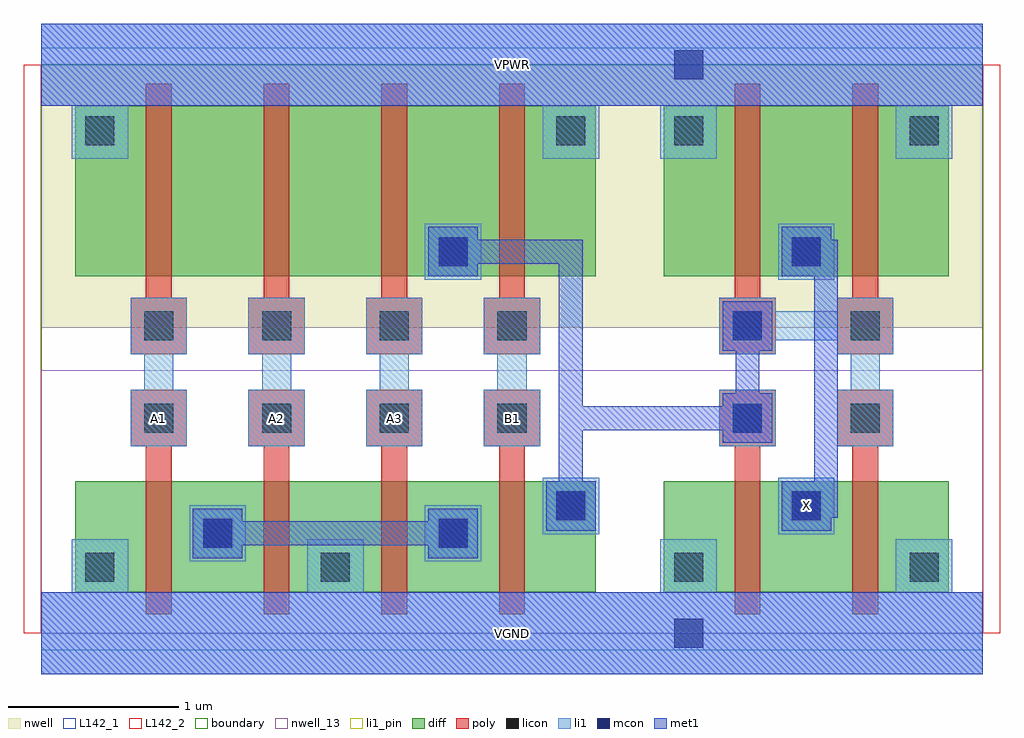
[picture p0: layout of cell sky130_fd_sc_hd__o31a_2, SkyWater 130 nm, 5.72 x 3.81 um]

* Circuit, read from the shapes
.subckt sky130_fd_sc_hd__o31a_2 A1 A2 A3 B1 VGND VPWR X
XM1 n1 A1 VGND VSUBS sky130_fd_pr__nfet_01v8 w=0.65 l=0.15
XM2 VGND A2 n1 VSUBS sky130_fd_pr__nfet_01v8 w=0.65 l=0.15
XM3 n1 A3 VGND VSUBS sky130_fd_pr__nfet_01v8 w=0.65 l=0.15
XM4 n2 B1 n1 VSUBS sky130_fd_pr__nfet_01v8 w=0.65 l=0.15
XM5 X n2 VGND VSUBS sky130_fd_pr__nfet_01v8 w=0.65 l=0.15 m=2
XM6 n3 A1 VPWR n4 sky130_fd_pr__pfet_01v8 w=1 l=0.15
XM7 n5 A2 n3 n4 sky130_fd_pr__pfet_01v8 w=1 l=0.15
XM8 n2 A3 n5 n4 sky130_fd_pr__pfet_01v8 w=1 l=0.15
XM9 VPWR B1 n2 n4 sky130_fd_pr__pfet_01v8 w=1 l=0.15
XM10 X n2 VPWR n4 sky130_fd_pr__pfet_01v8 w=1 l=0.15 m=2
.ends

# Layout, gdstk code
import gdstk
lib = gdstk.Library(unit=1e-6, precision=1e-09)
def R(c, l, rs):  # rectangles x0, y0, x1, y1
    for r in rs: c.add(gdstk.rectangle(r[:2], r[2:], *l))
def A(c, l, x, y, w, h, nx, ny, dx, dy):  # array of equal rectangles
    R(c, l, [(x+i*dx, y+j*dy, x+i*dx+w, y+j*dy+h) for i in range(nx) for j in range(ny)])
def P(c, l, *ps):  # polygons
    for p in ps: c.add(gdstk.Polygon(p, *l))
nwell_13 = (64, 13)
nwell = (64, 20)
diff = (65, 20)
poly = (66, 20)
licon = (66, 44)
li1_pin = (67, 16)
li1 = (67, 20)
mcon = (67, 44)
met1 = (68, 20)
L142_1 = (142, 1)
L142_2 = (142, 2)
boundary = (235, 4)

sky130_fd_sc_hd__o31a_2 = lib.new_cell('sky130_fd_sc_hd__o31a_2')
R(sky130_fd_sc_hd__o31a_2, nwell_13, [(0,0,5.52,1.54)])
R(sky130_fd_sc_hd__o31a_2, nwell, [(0,1.79,5.52,3.33)])
A(sky130_fd_sc_hd__o31a_2, diff, 0.615, 0.24, 0.69, 0.65, 3, 1, 0.69, 0)
A(sky130_fd_sc_hd__o31a_2, diff, 0.615, 2.09, 0.69, 1, 3, 1, 0.69, 0)
R(sky130_fd_sc_hd__o31a_2, diff, [(0.2,0.24,3.25,0.89), (0.2,0.24,0.615,0.89), (2.685,0.24,3.25,0.89), (3.65,0.24,5.32,0.89), (3.65,0.24,4.065,0.89), (4.065,0.24,4.755,0.89), (4.755,0.24,5.32,0.89), (0.2,2.09,3.25,3.09), (0.2,2.09,0.615,3.09), (2.685,2.09,3.25,3.09), (3.65,2.09,5.32,3.09), (3.65,2.09,4.065,3.09), (4.065,2.09,4.755,3.09), (4.755,2.09,5.32,3.09)])
P(sky130_fd_sc_hd__o31a_2, poly, [(4.065,0.11),(4.065,1.095),(3.975,1.095),(3.975,1.425),(4.305,1.425),(4.305,1.095),(4.215,1.095),(4.215,0.11)],
  [(4.755,0.11),(4.755,1.095),(4.665,1.095),(4.665,1.425),(4.995,1.425),(4.995,1.095),(4.905,1.095),(4.905,0.11)],
  [(3.975,1.635),(3.975,1.965),(4.065,1.965),(4.065,3.22),(4.215,3.22),(4.215,1.965),(4.305,1.965),(4.305,1.635)],
  [(4.665,1.635),(4.665,1.965),(4.755,1.965),(4.755,3.22),(4.905,3.22),(4.905,1.965),(4.995,1.965),(4.995,1.635)],
  [(1.305,0.11),(1.305,1.095),(1.215,1.095),(1.215,1.425),(1.545,1.425),(1.545,1.095),(1.455,1.095),(1.455,0.11)],
  [(1.215,1.635),(1.215,1.965),(1.305,1.965),(1.305,3.22),(1.455,3.22),(1.455,1.965),(1.545,1.965),(1.545,1.635)],
  [(0.615,0.11),(0.615,1.095),(0.525,1.095),(0.525,1.425),(0.855,1.425),(0.855,1.095),(0.765,1.095),(0.765,0.11)],
  [(0.525,1.635),(0.525,1.965),(0.615,1.965),(0.615,3.22),(0.765,3.22),(0.765,1.965),(0.855,1.965),(0.855,1.635)],
  [(1.995,0.11),(1.995,1.095),(1.905,1.095),(1.905,1.425),(2.235,1.425),(2.235,1.095),(2.145,1.095),(2.145,0.11)],
  [(1.905,1.635),(1.905,1.965),(1.995,1.965),(1.995,3.22),(2.145,3.22),(2.145,1.965),(2.235,1.965),(2.235,1.635)],
  [(2.685,0.11),(2.685,1.095),(2.595,1.095),(2.595,1.425),(2.925,1.425),(2.925,1.095),(2.835,1.095),(2.835,0.11)],
  [(2.595,1.635),(2.595,1.965),(2.685,1.965),(2.685,3.22),(2.835,3.22),(2.835,1.965),(2.925,1.965),(2.925,1.635)])
A(sky130_fd_sc_hd__o31a_2, licon, 0.605, 1.175, 0.17, 0.17, 4, 2, 0.69, 0.54)
R(sky130_fd_sc_hd__o31a_2, licon, [(0.26,0.3,0.43,0.47), (1.64,0.3,1.81,0.47), (3.71,0.3,3.88,0.47), (5.09,0.3,5.26,0.47), (0.95,0.5,1.12,0.67), (2.33,0.5,2.5,0.67), (3.02,0.66,3.19,0.83), (4.4,0.66,4.57,0.83), (4.055,1.175,4.225,1.345), (4.745,1.175,4.915,1.345), (4.055,1.715,4.225,1.885), (4.745,1.715,4.915,1.885), (2.33,2.15,2.5,2.32), (4.4,2.15,4.57,2.32), (0.26,2.86,0.43,3.03), (3.02,2.86,3.19,3.03), (3.71,2.86,3.88,3.03), (5.09,2.86,5.26,3.03)])
R(sky130_fd_sc_hd__o31a_2, li1_pin, [(0,-0.24,5.52,0.24), (4.32,0.58,4.65,0.91), (0,3.09,5.52,3.57)])
P(sky130_fd_sc_hd__o31a_2, li1_pin, [(0.525,1.095),(0.525,1.425),(0.605,1.425),(0.605,1.635),(0.525,1.635),(0.525,1.965),(0.855,1.965),(0.855,1.635),(0.775,1.635),(0.775,1.425),(0.855,1.425),(0.855,1.095)],
  [(1.905,1.095),(1.905,1.425),(1.985,1.425),(1.985,1.635),(1.905,1.635),(1.905,1.965),(2.235,1.965),(2.235,1.635),(2.155,1.635),(2.155,1.425),(2.235,1.425),(2.235,1.095)],
  [(2.595,1.095),(2.595,1.425),(2.675,1.425),(2.675,1.635),(2.595,1.635),(2.595,1.965),(2.925,1.965),(2.925,1.635),(2.845,1.635),(2.845,1.425),(2.925,1.425),(2.925,1.095)],
  [(1.215,1.095),(1.215,1.425),(1.295,1.425),(1.295,1.635),(1.215,1.635),(1.215,1.965),(1.545,1.965),(1.545,1.635),(1.465,1.635),(1.465,1.425),(1.545,1.425),(1.545,1.095)])
R(sky130_fd_sc_hd__o31a_2, li1, [(0.87,0.42,1.2,0.75), (2.25,0.42,2.58,0.75), (2.94,0.58,3.27,0.91), (4.32,0.58,4.65,0.91), (3.975,1.095,4.305,1.425), (2.25,2.07,2.58,2.4), (4.32,2.07,4.65,2.4)])
P(sky130_fd_sc_hd__o31a_2, li1, [(4.665,1.095),(4.665,1.425),(4.745,1.425),(4.745,1.635),(4.665,1.635),(4.665,1.715),(4.305,1.715),(4.305,1.635),(3.975,1.635),(3.975,1.965),(4.305,1.965),(4.305,1.885),(4.665,1.885),(4.665,1.965),(4.995,1.965),(4.995,1.635),(4.915,1.635),(4.915,1.425),(4.995,1.425),(4.995,1.095)],
  [(1.215,1.095),(1.215,1.425),(1.295,1.425),(1.295,1.635),(1.215,1.635),(1.215,1.965),(1.545,1.965),(1.545,1.635),(1.465,1.635),(1.465,1.425),(1.545,1.425),(1.545,1.095)],
  [(0.18,2.78),(0.18,3.09),(0,3.09),(0,3.57),(5.52,3.57),(5.52,3.09),(5.34,3.09),(5.34,2.78),(5.01,2.78),(5.01,3.09),(3.96,3.09),(3.96,2.78),(3.63,2.78),(3.63,3.09),(3.27,3.09),(3.27,2.78),(2.94,2.78),(2.94,3.09),(0.51,3.09),(0.51,2.78)],
  [(0.525,1.095),(0.525,1.425),(0.605,1.425),(0.605,1.635),(0.525,1.635),(0.525,1.965),(0.855,1.965),(0.855,1.635),(0.775,1.635),(0.775,1.425),(0.855,1.425),(0.855,1.095)],
  [(0,-0.24),(0,0.24),(0.18,0.24),(0.18,0.55),(0.51,0.55),(0.51,0.24),(1.56,0.24),(1.56,0.55),(1.89,0.55),(1.89,0.24),(3.63,0.24),(3.63,0.55),(3.96,0.55),(3.96,0.24),(5.01,0.24),(5.01,0.55),(5.34,0.55),(5.34,0.24),(5.52,0.24),(5.52,-0.24)],
  [(1.905,1.095),(1.905,1.425),(1.985,1.425),(1.985,1.635),(1.905,1.635),(1.905,1.965),(2.235,1.965),(2.235,1.635),(2.155,1.635),(2.155,1.425),(2.235,1.425),(2.235,1.095)],
  [(2.595,1.095),(2.595,1.425),(2.675,1.425),(2.675,1.635),(2.595,1.635),(2.595,1.965),(2.925,1.965),(2.925,1.635),(2.845,1.635),(2.845,1.425),(2.925,1.425),(2.925,1.095)])
R(sky130_fd_sc_hd__o31a_2, mcon, [(3.71,-0.085,3.88,0.085), (0.95,0.5,1.12,0.67), (2.33,0.5,2.5,0.67), (3.02,0.66,3.19,0.83), (4.4,0.66,4.57,0.83), (4.055,1.175,4.225,1.345), (4.055,1.715,4.225,1.885), (2.33,2.15,2.5,2.32), (4.4,2.15,4.57,2.32), (3.71,3.245,3.88,3.415)])
R(sky130_fd_sc_hd__o31a_2, met1, [(0,-0.24,5.52,0.24), (0,3.09,5.52,3.57)])
P(sky130_fd_sc_hd__o31a_2, met1, [(2.96,0.6),(2.96,0.89),(3.035,0.89),(3.035,2.165),(2.56,2.165),(2.56,2.09),(2.27,2.09),(2.27,2.38),(2.56,2.38),(2.56,2.305),(3.175,2.305),(3.175,1.33),(3.995,1.33),(3.995,1.405),(4.07,1.405),(4.07,1.655),(3.995,1.655),(3.995,1.945),(4.285,1.945),(4.285,1.655),(4.21,1.655),(4.21,1.405),(4.285,1.405),(4.285,1.115),(3.995,1.115),(3.995,1.19),(3.175,1.19),(3.175,0.89),(3.25,0.89),(3.25,0.6)],
  [(0.89,0.44),(0.89,0.73),(1.18,0.73),(1.18,0.655),(2.27,0.655),(2.27,0.73),(2.56,0.73),(2.56,0.44),(2.27,0.44),(2.27,0.515),(1.18,0.515),(1.18,0.44)],
  [(4.34,0.6),(4.34,0.89),(4.53,0.89),(4.53,2.09),(4.34,2.09),(4.34,2.38),(4.63,2.38),(4.63,2.305),(4.67,2.305),(4.67,0.675),(4.63,0.675),(4.63,0.6)])
R(sky130_fd_sc_hd__o31a_2, L142_1, [(0,-0.1,5.52,0), (0,3.33,5.52,3.43)])
R(sky130_fd_sc_hd__o31a_2, L142_2, [(-0.1,0,0,3.33), (5.52,0,5.62,3.33)])
R(sky130_fd_sc_hd__o31a_2, boundary, [(0,0,5.52,3.33)])
sky130_fd_sc_hd__o31a_2.add(gdstk.Label('X', (4.485,0.745), layer=67, texttype=5))
sky130_fd_sc_hd__o31a_2.add(gdstk.Label('A1', (0.69,1.26), layer=67, texttype=5))
sky130_fd_sc_hd__o31a_2.add(gdstk.Label('A3', (2.07,1.26), layer=67, texttype=5))
sky130_fd_sc_hd__o31a_2.add(gdstk.Label('B1', (2.76,1.26), layer=67, texttype=5))
sky130_fd_sc_hd__o31a_2.add(gdstk.Label('A2', (1.38,1.26), layer=67, texttype=5))
sky130_fd_sc_hd__o31a_2.add(gdstk.Label('VGND', (2.76,0), layer=67, texttype=5))
sky130_fd_sc_hd__o31a_2.add(gdstk.Label('VPWR', (2.76,3.33), layer=67, texttype=5))
sky130_fd_sc_hd__o31a_2.add(gdstk.Label('VGND', (2.76,0), layer=68, texttype=5))
sky130_fd_sc_hd__o31a_2.add(gdstk.Label('VPWR', (2.76,3.33), layer=68, texttype=5))

lib.write_gds('sky130_fd_sc_hd__o31a_2.gds')
